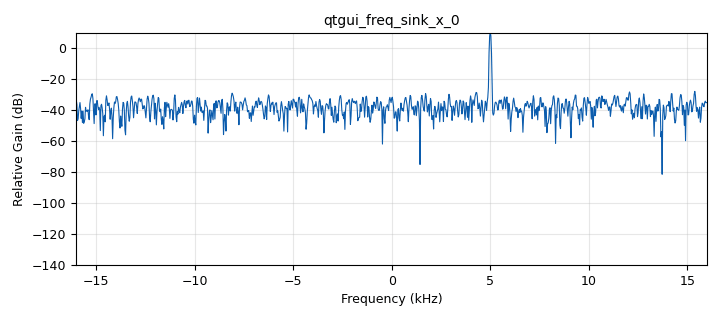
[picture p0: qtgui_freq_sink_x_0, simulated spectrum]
options:
  parameters:
    generate_options: qt_gui
    id: fft_alternative
    output_language: python
    title: Not titled yet
  states: {}

blocks:
- name: samp_rate
  id: variable
  parameters:
    value: '32000'
  states: {}
- name: start_freq
  id: variable
  parameters:
    value: '-16000'
  states: {}
- name: step
  id: variable
  parameters:
    value: samp_rate/1024
  states: {}
- name: vec_len
  id: variable
  parameters:
    value: '1024'
  states: {}
- name: analog_noise_source_x_0
  id: analog_noise_source_x
  parameters:
    amp: '1'
    noise_type: analog.GR_GAUSSIAN
    seed: '0'
    type: complex
  states: {}
- name: analog_sig_source_x_0
  id: analog_sig_source_x
  parameters:
    amp: '10'
    freq: '5000'
    offset: '0'
    phase: '0'
    samp_rate: samp_rate
    type: complex
    waveform: analog.GR_COS_WAVE
  states: {}
- name: blocks_add_xx_0
  id: blocks_add_xx
  parameters:
    type: complex
  states: {}
- name: blocks_throttle_0
  id: blocks_throttle
  parameters:
    samples_per_second: samp_rate
    type: complex
  states: {}
- name: qtgui_freq_sink_x_0
  id: qtgui_freq_sink_x
  parameters:
    bw: samp_rate
    fc: '0'
    fftsize: '1024'
    type: complex
  states: {}

connections:
- [analog_noise_source_x_0, '0', blocks_add_xx_0, '1']
- [analog_sig_source_x_0, '0', blocks_add_xx_0, '0']
- [blocks_add_xx_0, '0', blocks_throttle_0, '0']
- [blocks_throttle_0, '0', qtgui_freq_sink_x_0, '0']

metadata:
  file_format: 1
